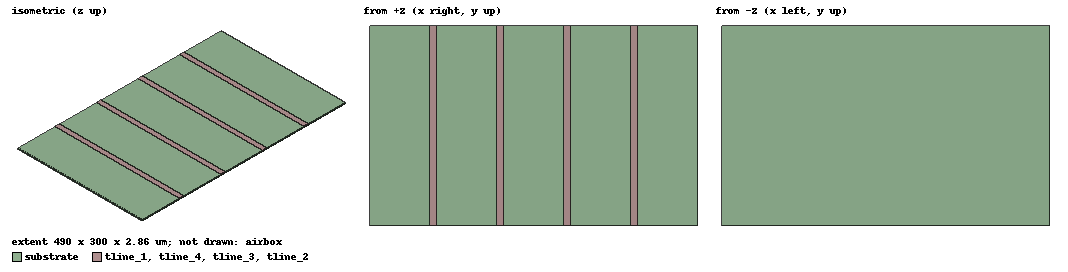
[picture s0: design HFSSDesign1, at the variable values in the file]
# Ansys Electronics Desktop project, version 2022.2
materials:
  vacuum: permittivity=1
  copper: permeability=0.999991 conductivity=58000000
  FR4_epoxy: permittivity=4.4 dielectric_loss_tangent=0.02
  air: permittivity=1.0006 permeability=1.0000004
  aluminum: permeability=1.000021 conductivity=38000000

design HFSSDesign1 (HFSS, DrivenTerminal, model units um)
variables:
  microstrip_L = 300um
  microstrip_W = 10um
  microstrip_H = 0.845um
  microstrip_gap = 90um
  substrate_H = 2.015um
  gnd_H = 0.36um
  substrate_W = 490um
  waveport_W = 5*microstrip_W
  waveport_H = 5*substrate_H
  airbox_H = 100*substrate_H
  airbox_W = 2*substrate_W
  airbox_L = microstrip_L
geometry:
  substrate [FR4_epoxy] = box(corner=(0um, 0um, 0um), size=(substrate_W, microstrip_L, substrate_H))
  tline_4 [aluminum] = box(corner=(microstrip_gap, 0um, substrate_H), size=(microstrip_W, microstrip_L, microstrip_H))
  tline_3 [aluminum] = box(corner=((2*microstrip_gap)+microstrip_W, 0, substrate_H), size=(microstrip_W, microstrip_L, microstrip_H))
  tline_2 [aluminum] = box(corner=((3*microstrip_gap)+(2*microstrip_W), 0um, substrate_H), size=(microstrip_W, microstrip_L, microstrip_H))
  tline_1 [aluminum] = box(corner=((4*microstrip_gap)+(3*microstrip_W), 0um, substrate_H), size=(microstrip_W, microstrip_L, microstrip_H))
  airbox [vacuum] = box(corner=(-substrate_W/2, 0um, -gnd_H), size=(airbox_W, airbox_L, airbox_H))
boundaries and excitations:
  gnd: Finite Conductivity Faces=substrate.face(-z) Conductivity=58000000 Permeability=1 Thickness=0.36um IsInternal
  radiation_boundary: Radiation Faces=airbox.face(+x, +z, -x)
  TLINE4_A: Terminal port=1 Faces=tline_4.face(+y) TerminalResistance=50ohm
  TLINE3_A: Terminal port=1 Faces=tline_3.face(+y) TerminalResistance=50ohm
  TLINE2_A: Terminal port=1 Faces=tline_2.face(+y) TerminalResistance=50ohm
  TLINE1_A: Terminal port=1 Faces=tline_1.face(+y) TerminalResistance=50ohm
  TLINE4_B: Terminal port=2 Faces=tline_4.face(-y) TerminalResistance=50ohm
  TLINE3_B: Terminal port=2 Faces=tline_3.face(-y) TerminalResistance=50ohm
  TLINE2_B: Terminal port=2 Faces=tline_2.face(-y) TerminalResistance=50ohm
  TLINE1_B: Terminal port=2 Faces=tline_1.face(-y) TerminalResistance=50ohm
  1: Wave Port Faces=airbox.face(+y) NumModes=1
  2: Wave Port Faces=airbox.face(-y) NumModes=1
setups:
  Setup1: HfssDrivenAuto AutoSolverSetting=Balanced SaveAnyFields=false Type=Interpolating
    sweep Sweep: 10GHz to 30GHz, 101 points;
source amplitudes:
  1:1: 1V 0deg
  1:2, 1:3, 1:4, 2:1..2:4: 0V 0deg
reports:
  Terminal S Parameter Plot 2: dB(St(TLINE2_A,TLINE2_A)), dB(St(TLINE2_B,TLINE2_A)), dB(St(TLINE3_A,TLINE3_A)), dB(St(TLINE3_B,TLINE3_A)) vs Freq on Setup1 : Sweep
